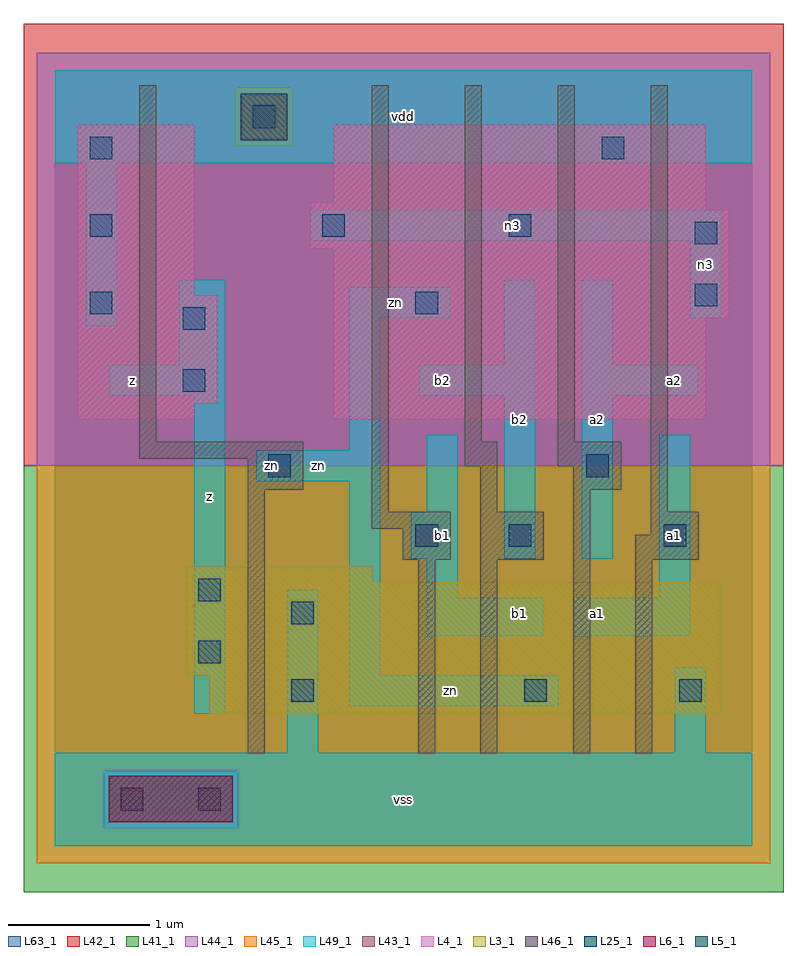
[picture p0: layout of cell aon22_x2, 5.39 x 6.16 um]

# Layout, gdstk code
import gdstk
lib = gdstk.Library(unit=1e-6, precision=1e-09)
def R(c, l, rs):  # rectangles x0, y0, x1, y1
    for r in rs: c.add(gdstk.rectangle(r[:2], r[2:], *l))
def A(c, l, x, y, w, h, nx, ny, dx, dy):  # array of equal rectangles
    R(c, l, [(x+i*dx, y+j*dy, x+i*dx+w, y+j*dy+h) for i in range(nx) for j in range(ny)])
L3_1 = (3, 1)
L4_1 = (4, 1)
L5_1 = (5, 1)
L6_1 = (6, 1)
L25_1 = (25, 1)
L41_1 = (41, 1)
L42_1 = (42, 1)
L43_1 = (43, 1)
L44_1 = (44, 1)
L45_1 = (45, 1)
L46_1 = (46, 1)
L49_1 = (49, 1)
L63_1 = (63, 1)

aon22_x2 = lib.new_cell('aon22_x2')
R(aon22_x2, L3_1, [(1.1,0.935,4.73,1.21), (0.935,1.21,4.73,1.87), (0.935,1.87,2.255,1.98)])
R(aon22_x2, L4_1, [(0.165,3.025,0.99,3.135), (1.98,3.025,4.62,3.74), (0.165,3.135,1.155,3.905), (1.98,3.74,4.785,4.235), (0.165,3.905,0.99,5.115), (1.815,4.235,4.785,4.51), (1.815,4.51,4.62,4.565), (1.98,4.565,4.62,5.115)])
R(aon22_x2, L5_1, [(1.32,5.005,1.65,5.335)])
R(aon22_x2, L6_1, [(0.385,0.165,1.265,0.495)])
A(aon22_x2, L25_1, 0.25, 3.77, 0.16, 0.16, 1, 3, 0, 0.55)
R(aon22_x2, L25_1, [(0.47,0.25,0.63,0.41), (1.02,0.25,1.18,0.41), (1.68,1.02,1.84,1.18), (3.33,1.02,3.49,1.18), (4.43,1.02,4.59,1.18), (1.02,1.295,1.18,1.455), (1.68,1.57,1.84,1.73), (1.02,1.735,1.18,1.895), (2.56,2.12,2.72,2.28), (3.22,2.12,3.38,2.28), (4.32,2.12,4.48,2.28), (1.515,2.615,1.675,2.775), (3.77,2.615,3.93,2.775), (0.91,3.22,1.07,3.38), (0.91,3.66,1.07,3.82), (2.56,3.77,2.72,3.93), (4.54,3.825,4.7,3.985), (4.54,4.265,4.7,4.425), (1.9,4.32,2.06,4.48), (3.22,4.32,3.38,4.48), (3.88,4.87,4.04,5.03), (1.405,5.09,1.565,5.25)])
R(aon22_x2, L41_1, [(-0.22,-0.33,5.17,2.695)])
R(aon22_x2, L42_1, [(-0.22,2.695,5.17,5.83)])
R(aon22_x2, L43_1, [(0.385,0.165,1.265,0.495), (1.1,0.935,4.73,1.21), (0.935,1.21,4.73,1.87), (0.935,1.87,2.255,1.98), (0.165,3.025,0.99,3.135), (1.98,3.025,4.62,3.74), (0.165,3.135,1.155,3.905), (1.98,3.74,4.785,4.235), (0.165,3.905,0.99,5.115), (1.815,4.235,4.785,4.51), (1.815,4.51,4.62,4.565), (1.98,4.565,4.62,5.115), (1.32,5.005,1.65,5.335)])
R(aon22_x2, L44_1, [(0.345,0.125,1.305,0.535), (-0.125,2.695,5.075,4.965), (-0.125,4.965,1.28,5.375), (1.69,4.965,5.075,5.375), (-0.125,5.375,5.075,5.625)])
R(aon22_x2, L45_1, [(-0.125,-0.125,5.075,0.125), (-0.125,0.125,0.345,0.535), (1.305,0.125,5.075,0.535), (-0.125,0.535,5.075,2.695), (1.28,4.965,1.69,5.375)])
R(aon22_x2, L46_1, [(1.37,0.655,1.49,2.525), (2.58,0.655,2.7,2.03), (3.02,0.655,3.14,2.03), (3.68,0.655,3.8,2.525), (4.12,0.655,4.24,2.03), (2.47,2.03,2.81,2.25), (3.02,2.03,3.47,2.37), (4.12,2.03,4.57,2.205), (4.23,2.205,4.57,2.37), (2.25,2.25,2.81,2.37), (2.25,2.37,2.37,5.395), (3.02,2.37,3.14,2.69), (4.23,2.37,4.35,5.395), (1.37,2.525,1.765,2.745), (3.68,2.525,4.02,2.69), (2.91,2.69,3.14,2.865), (3.57,2.69,4.02,2.865), (0.6,2.745,1.765,2.865), (0.6,2.865,0.72,5.395), (2.91,2.865,3.03,5.395), (3.57,2.865,3.69,5.395)])
R(aon22_x2, L49_1, [(0,0,4.95,0.66), (1.65,0.66,1.87,1.815), (4.4,0.66,4.62,1.265), (0.99,0.935,1.21,3.19), (2.09,0.99,3.575,1.21), (2.09,1.21,2.31,2.585), (2.64,1.485,3.465,1.76), (3.685,1.485,4.51,1.76), (2.64,1.76,2.86,2.035), (4.29,1.76,4.51,2.915), (2.53,2.035,2.86,2.365), (3.19,2.035,3.41,3.19), (3.74,2.035,3.96,3.19), (2.64,2.365,2.86,2.915), (1.43,2.585,2.31,2.805), (2.09,2.805,2.31,3.74), (0.385,3.19,1.21,3.41), (2.585,3.19,3.41,3.41), (3.74,3.19,4.565,3.41), (0.88,3.41,1.21,4.015), (3.19,3.41,3.41,4.015), (3.74,3.41,3.96,4.015), (0.22,3.685,0.44,4.84), (2.09,3.74,2.805,3.96), (4.51,3.74,4.73,4.29), (1.815,4.29,4.73,4.51), (0,4.84,4.95,5.5)])
R(aon22_x2, L63_1, [(0,0,4.95,5.5)])
aon22_x2.add(gdstk.Label('zn', (1.54,2.695), layer=49, texttype=1))
aon22_x2.add(gdstk.Label('z', (0.55,3.3), layer=49, texttype=1))
aon22_x2.add(gdstk.Label('z', (0.55,3.3), layer=49, texttype=1))
aon22_x2.add(gdstk.Label('z', (1.1,2.475), layer=49, texttype=1))
aon22_x2.add(gdstk.Label('z', (1.1,2.475), layer=49, texttype=1))
aon22_x2.add(gdstk.Label('vss', (2.475,0.33), layer=49, texttype=1))
aon22_x2.add(gdstk.Label('vss', (2.475,0.33), layer=49, texttype=1))
aon22_x2.add(gdstk.Label('b1', (2.75,2.2), layer=49, texttype=1))
aon22_x2.add(gdstk.Label('b1', (2.75,2.2), layer=49, texttype=1))
aon22_x2.add(gdstk.Label('zn', (1.87,2.695), layer=49, texttype=1))
aon22_x2.add(gdstk.Label('b2', (2.75,3.3), layer=49, texttype=1))
aon22_x2.add(gdstk.Label('b2', (2.75,3.3), layer=49, texttype=1))
aon22_x2.add(gdstk.Label('zn', (2.42,3.85), layer=49, texttype=1))
aon22_x2.add(gdstk.Label('vdd', (2.475,5.17), layer=49, texttype=1))
aon22_x2.add(gdstk.Label('vdd', (2.475,5.17), layer=49, texttype=1))
aon22_x2.add(gdstk.Label('zn', (2.805,1.1), layer=49, texttype=1))
aon22_x2.add(gdstk.Label('a1', (3.85,1.65), layer=49, texttype=1))
aon22_x2.add(gdstk.Label('b1', (3.3,1.65), layer=49, texttype=1))
aon22_x2.add(gdstk.Label('b1', (3.3,1.65), layer=49, texttype=1))
aon22_x2.add(gdstk.Label('a1', (3.85,1.65), layer=49, texttype=1))
aon22_x2.add(gdstk.Label('b2', (3.3,3.025), layer=49, texttype=1))
aon22_x2.add(gdstk.Label('a2', (3.85,3.025), layer=49, texttype=1))
aon22_x2.add(gdstk.Label('a2', (3.85,3.025), layer=49, texttype=1))
aon22_x2.add(gdstk.Label('b2', (3.3,3.025), layer=49, texttype=1))
aon22_x2.add(gdstk.Label('a1', (4.4,2.2), layer=49, texttype=1))
aon22_x2.add(gdstk.Label('a1', (4.4,2.2), layer=49, texttype=1))
aon22_x2.add(gdstk.Label('a2', (4.4,3.3), layer=49, texttype=1))
aon22_x2.add(gdstk.Label('a2', (4.4,3.3), layer=49, texttype=1))
aon22_x2.add(gdstk.Label('n3', (4.62,4.125), layer=49, texttype=1))
aon22_x2.add(gdstk.Label('n3', (3.245,4.4), layer=49, texttype=1))

lib.write_gds('aon22_x2.gds')
